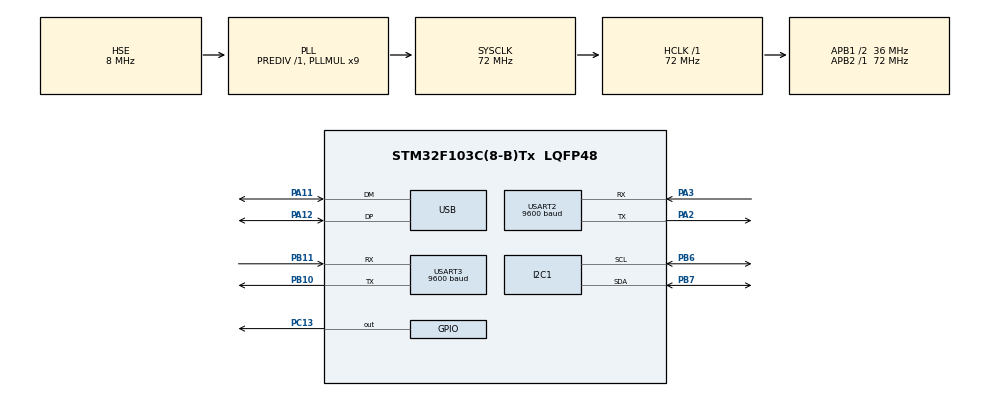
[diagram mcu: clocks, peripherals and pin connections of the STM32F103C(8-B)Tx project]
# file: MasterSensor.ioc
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Mcu.Family=STM32F1
Mcu.Name=STM32F103C(8-B)Tx
Mcu.Package=LQFP48
NVIC.PriorityGroup=NVIC_PRIORITYGROUP_4
NVIC.USB_LP_CAN1_RX0_IRQn=true\:0\:0\:false\:false\:true\:false
PA11.Mode=Device
PA11.Signal=USB_DM
PA12.Mode=Device
PA12.Signal=USB_DP
PA2.Mode=Asynchronous
PA2.Signal=USART2_TX
PA3.Mode=Asynchronous
PA3.Signal=USART2_RX
PB10.Mode=Asynchronous
PB10.Signal=USART3_TX
PB11.Mode=Asynchronous
PB11.Signal=USART3_RX
PB6.Mode=I2C
PB6.Signal=I2C1_SCL
PB7.Mode=I2C
PB7.Signal=I2C1_SDA
PC13-TAMPER-RTC.Signal=GPIO_Output
PD0-OSC_IN.Mode=HSE-External-Oscillator
PD0-OSC_IN.Signal=RCC_OSC_IN
PD1-OSC_OUT.Mode=HSE-External-Oscillator
PD1-OSC_OUT.Signal=RCC_OSC_OUT
ProjectManager.HeapSize=0x200
ProjectManager.StackSize=0x400
ProjectManager.TargetToolchain=MDK-ARM V5
RCC.AHBFreq_Value=72000000
RCC.APB1CLKDivider=RCC_HCLK_DIV2
RCC.APB1Freq_Value=36000000
RCC.APB1TimFreq_Value=72000000
RCC.APB2Freq_Value=72000000
RCC.APB2TimFreq_Value=72000000
RCC.HCLKFreq_Value=72000000
RCC.PLLMUL=RCC_PLL_MUL9
RCC.SYSCLKFreq_VALUE=72000000
RCC.SYSCLKSource=RCC_SYSCLKSOURCE_PLLCLK
RCC.USBFreq_Value=48000000
RCC.USBPrescaler=RCC_USBCLKSOURCE_PLL_DIV1_5
USART2.BaudRate=9600
USART2.VirtualMode=VM_ASYNC
USART3.BaudRate=9600
USART3.VirtualMode=VM_ASYNC
USB_DEVICE.CLASS_NAME_FS=CDC
USB_DEVICE.VirtualMode=Cdc
USB_DEVICE.VirtualModeFS=Cdc_FS
VP_SYS_VS_ND.Mode=No_Debug
VP_USB_DEVICE_VS_USB_DEVICE_CDC_FS.Mode=CDC_FS
board=custom

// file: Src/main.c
/* USER CODE BEGIN Header */
/**
  ******************************************************************************
  * @file           : main.c
  * @brief          : Main program body
  ******************************************************************************
  * This notice applies to any and all portions of this file
  * that are not between comment pairs USER CODE BEGIN and
  * USER CODE END. Other portions of this file, whether
  * inserted by the user or by software development tools
  * are owned by their respective copyright owners.
  *
  * Copyright (c) 2019 STMicroelectronics International N.V.
  * All rights reserved.
  *
  * Redistribution and use in source and binary forms, with or without
  * modification, are permitted, provided that the following conditions are met:
  *
  * 1. Redistribution of source code must retain the above copyright notice,
  *    this list of conditions and the following disclaimer.
  * 2. Redistributions in binary form must reproduce the above copyright notice,
  *    this list of conditions and the following disclaimer in the documentation
  *    and/or other materials provided with the distribution.
  * 3. Neither the name of STMicroelectronics nor the names of other
  *    contributors to this software may be used to endorse or promote products
  *    derived from this software without specific written permission.
  * 4. This software, including modifications and/or derivative works of this
  *    software, must execute solely and exclusively on microcontroller or
  *    microprocessor devices manufactured by or for STMicroelectronics.
  * 5. Redistribution and use of this software other than as permitted under
  *    this license is void and will automatically terminate your rights under
  *    this license.
  *
  * THIS SOFTWARE IS PROVIDED BY STMICROELECTRONICS AND CONTRIBUTORS "AS IS"
  * AND ANY EXPRESS, IMPLIED OR STATUTORY WARRANTIES, INCLUDING, BUT NOT
  * LIMITED TO, THE IMPLIED WARRANTIES OF MERCHANTABILITY, FITNESS FOR A
  * PARTICULAR PURPOSE AND NON-INFRINGEMENT OF THIRD PARTY INTELLECTUAL PROPERTY
  * RIGHTS ARE DISCLAIMED TO THE FULLEST EXTENT PERMITTED BY LAW. IN NO EVENT
  * SHALL STMICROELECTRONICS OR CONTRIBUTORS BE LIABLE FOR ANY DIRECT, INDIRECT,
  * INCIDENTAL, SPECIAL, EXEMPLARY, OR CONSEQUENTIAL DAMAGES (INCLUDING, BUT NOT
  * LIMITED TO, PROCUREMENT OF SUBSTITUTE GOODS OR SERVICES; LOSS OF USE, DATA,
  * OR PROFITS; OR BUSINESS INTERRUPTION) HOWEVER CAUSED AND ON ANY THEORY OF
  * LIABILITY, WHETHER IN CONTRACT, STRICT LIABILITY, OR TORT (INCLUDING
  * NEGLIGENCE OR OTHERWISE) ARISING IN ANY WAY OUT OF THE USE OF THIS SOFTWARE,
  * EVEN IF ADVISED OF THE POSSIBILITY OF SUCH DAMAGE.
  *
  ******************************************************************************
  */
/* USER CODE END Header */

#include "main.h"
#include "usb_device.h"

/* USER CODE BEGIN Includes */
#include "usbd_cdc_if.h"
#include <string.h>
#include "esp8266wifi.h"
#include "usb_serial.h"
/* USER CODE END Includes */

I2C_HandleTypeDef hi2c1;

UART_HandleTypeDef huart2;
UART_HandleTypeDef huart3;

void SystemClock_Config(void);
static void MX_GPIO_Init(void);
static void MX_I2C1_Init(void);
static void MX_USART2_UART_Init(void);
static void MX_USART3_UART_Init(void);
/* USER CODE BEGIN PFP */
static void MX_GPIO_UART_Init(void);
/* USER CODE END PFP */

int main(void)
{

  /* MCU Configuration--------------------------------------------------------*/

  /* Reset of all peripherals, Initializes the Flash interface and the Systick. */
  HAL_Init();

  /* Configure the system clock */
  SystemClock_Config();

  /* Initialize all configured peripherals */
  MX_GPIO_Init();
  MX_I2C1_Init();
  MX_USART2_UART_Init();
  MX_USART3_UART_Init();
  MX_USB_DEVICE_Init();
  /* USER CODE BEGIN 2 */
	MX_GPIO_UART_Init();
  /* USER CODE END 2 */

  /* Infinite loop */
  /* USER CODE BEGIN WHILE */
	char message [256];
  while (1)
  {
		memset(message, '\0', 256);
		HAL_GPIO_TogglePin(GPIOC, GPIO_PIN_13);
		if (usb_read_message(message, 255))
		{
			HAL_StatusTypeDef status = esp8266_wifi_send_string(&huart2, message);
			if (status == HAL_ERROR)
			{
				usb_print_message("ERROR\r\n");
			}
			else if (status == HAL_BUSY)
			{
				usb_print_message("BUSY\r\n");
			}
			else if (status == HAL_TIMEOUT)
			{
				usb_print_message("TIMEOUT\r\n");
			}
			memset(message, '\0', 256);
			status = HAL_UART_Receive(&huart2, (uint8_t *) message, 4, 1000);
			if (status == HAL_ERROR)
			{
				usb_print_message("RECIEVE ERROR\r\n");
			}
			else if (status == HAL_BUSY)
			{
				usb_print_message("RECIEVE BUSY\r\n");
			}
			else if (status == HAL_TIMEOUT)
			{
				usb_print_message("RECIEVE TIMEOUT\r\n");
			}
			usb_print_message(message);
			usb_print_message("-------\r\n");
		}
    /* USER CODE END WHILE */

  }
}

void SystemClock_Config(void)
{
  RCC_OscInitTypeDef RCC_OscInitStruct = {0};
  RCC_ClkInitTypeDef RCC_ClkInitStruct = {0};
  RCC_PeriphCLKInitTypeDef PeriphClkInit = {0};

  /**Initializes the CPU, AHB and APB busses clocks
  */
  RCC_OscInitStruct.OscillatorType = RCC_OSCILLATORTYPE_HSE;
  RCC_OscInitStruct.HSEState = RCC_HSE_ON;
  RCC_OscInitStruct.HSEPredivValue = RCC_HSE_PREDIV_DIV1;
  RCC_OscInitStruct.HSIState = RCC_HSI_ON;
  RCC_OscInitStruct.PLL.PLLState = RCC_PLL_ON;
  RCC_OscInitStruct.PLL.PLLSource = RCC_PLLSOURCE_HSE;
  RCC_OscInitStruct.PLL.PLLMUL = RCC_PLL_MUL9;
  if (HAL_RCC_OscConfig(&RCC_OscInitStruct) != HAL_OK)
  {
    Error_Handler();
  }
  /**Initializes the CPU, AHB and APB busses clocks
  */
  RCC_ClkInitStruct.ClockType = RCC_CLOCKTYPE_HCLK|RCC_CLOCKTYPE_SYSCLK
                              |RCC_CLOCKTYPE_PCLK1|RCC_CLOCKTYPE_PCLK2;
  RCC_ClkInitStruct.SYSCLKSource = RCC_SYSCLKSOURCE_PLLCLK;
  RCC_ClkInitStruct.AHBCLKDivider = RCC_SYSCLK_DIV1;
  RCC_ClkInitStruct.APB1CLKDivider = RCC_HCLK_DIV2;
  RCC_ClkInitStruct.APB2CLKDivider = RCC_HCLK_DIV1;

  if (HAL_RCC_ClockConfig(&RCC_ClkInitStruct, FLASH_LATENCY_2) != HAL_OK)
  {
    Error_Handler();
  }
  PeriphClkInit.PeriphClockSelection = RCC_PERIPHCLK_USB;
  PeriphClkInit.UsbClockSelection = RCC_USBCLKSOURCE_PLL_DIV1_5;
  if (HAL_RCCEx_PeriphCLKConfig(&PeriphClkInit) != HAL_OK)
  {
    Error_Handler();
  }
}

static void MX_I2C1_Init(void)
{

  hi2c1.Instance = I2C1;
  hi2c1.Init.ClockSpeed = 100000;
  hi2c1.Init.DutyCycle = I2C_DUTYCYCLE_2;
  hi2c1.Init.OwnAddress1 = 0;
  hi2c1.Init.AddressingMode = I2C_ADDRESSINGMODE_7BIT;
  hi2c1.Init.DualAddressMode = I2C_DUALADDRESS_DISABLE;
  hi2c1.Init.OwnAddress2 = 0;
  hi2c1.Init.GeneralCallMode = I2C_GENERALCALL_DISABLE;
  hi2c1.Init.NoStretchMode = I2C_NOSTRETCH_DISABLE;
  if (HAL_I2C_Init(&hi2c1) != HAL_OK)
  {
    Error_Handler();
  }

}

static void MX_USART2_UART_Init(void)
{

  huart2.Instance = USART2;
  huart2.Init.BaudRate = 115200;
  huart2.Init.WordLength = UART_WORDLENGTH_8B;
  huart2.Init.StopBits = UART_STOPBITS_1;
  huart2.Init.Parity = UART_PARITY_NONE;
  huart2.Init.Mode = UART_MODE_TX_RX;
  huart2.Init.HwFlowCtl = UART_HWCONTROL_NONE;
  huart2.Init.OverSampling = UART_OVERSAMPLING_16;
  if (HAL_UART_Init(&huart2) != HAL_OK)
  {
    Error_Handler();
  }

}

static void MX_USART3_UART_Init(void)
{

  huart3.Instance = USART3;
  huart3.Init.BaudRate = 115200;
  huart3.Init.WordLength = UART_WORDLENGTH_8B;
  huart3.Init.StopBits = UART_STOPBITS_1;
  huart3.Init.Parity = UART_PARITY_NONE;
  huart3.Init.Mode = UART_MODE_TX_RX;
  huart3.Init.HwFlowCtl = UART_HWCONTROL_NONE;
  huart3.Init.OverSampling = UART_OVERSAMPLING_16;
  if (HAL_UART_Init(&huart3) != HAL_OK)
  {
    Error_Handler();
  }

}

static void MX_GPIO_Init(void)
{
  GPIO_InitTypeDef GPIO_InitStruct = {0};

  /* GPIO Ports Clock Enable */
  __HAL_RCC_GPIOC_CLK_ENABLE();
  __HAL_RCC_GPIOD_CLK_ENABLE();
  __HAL_RCC_GPIOA_CLK_ENABLE();
  __HAL_RCC_GPIOB_CLK_ENABLE();

  /*Configure GPIO pin Output Level */
  HAL_GPIO_WritePin(GPIOC, GPIO_PIN_13, GPIO_PIN_RESET);

  /*Configure GPIO pin : PC13 */
  GPIO_InitStruct.Pin = GPIO_PIN_13;
  GPIO_InitStruct.Mode = GPIO_MODE_OUTPUT_PP;
  GPIO_InitStruct.Pull = GPIO_NOPULL;
  GPIO_InitStruct.Speed = GPIO_SPEED_FREQ_LOW;
  HAL_GPIO_Init(GPIOC, &GPIO_InitStruct);

}

/* USER CODE BEGIN 4 */
static void MX_GPIO_UART_Init(void)
{
	GPIO_InitTypeDef GPIO_InitStructure;

	GPIO_InitStructure.Pin = GPIO_PIN_2;
	GPIO_InitStructure.Mode = GPIO_MODE_AF_PP;
	GPIO_InitStructure.Speed = GPIO_SPEED_FREQ_HIGH;
	GPIO_InitStructure.Pull = GPIO_NOPULL;
	HAL_GPIO_Init(GPIOA, &GPIO_InitStructure);

	GPIO_InitStructure.Pin = GPIO_PIN_3;
	GPIO_InitStructure.Mode = GPIO_MODE_AF_OD;
	HAL_GPIO_Init(GPIOA, &GPIO_InitStructure);
}
/* USER CODE END 4 */

void Error_Handler(void)
{
}

/************************ (C) COPYRIGHT STMicroelectronics *****END OF FILE****/
